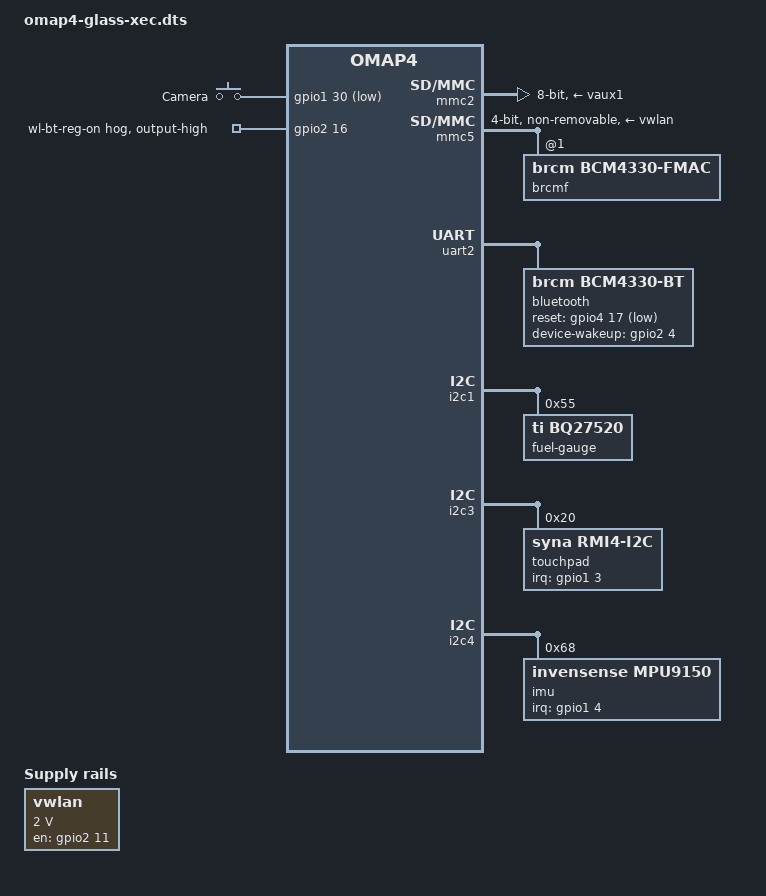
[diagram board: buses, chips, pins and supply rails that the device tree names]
// SPDX-License-Identifier: GPL-2.0-only OR MIT
/*
 * Google Glass XE-C, the full image: the safe image plus the eMMC, Wi-Fi and
 * Bluetooth (BCM4330), the battery gauge, the touchpad, the IMU and the
 * camera button. Sources as in omap4-glass-xec-common.dtsi ("notle:").
 *
 * Not described yet: the display (panel-notle-panel @ I2C4 0x49 behind the
 * iCE40 FPGA, no mainline driver), the glasshub MCU (I2C4 0x35), the
 * LTR-506 light sensor (I2C4 0x3a, no mainline driver), audio (TWL6040 and
 * the ABE), the camera and GPS.
 */
#include "omap4-glass-xec-common.dtsi"
#include <dt-bindings/input/input.h>

/ {
	/*
	 * notle: tuna_vwlan (board-notle-wifi.c), 2.0 V switched by WL_RST_N
	 * (GPIO 43), active high, 70 ms startup; the supply of MMC5.
	 */
	vwlan: regulator-vwlan {
		compatible = "regulator-fixed";
		regulator-name = "vwlan";
		regulator-min-microvolt = <2000000>;
		regulator-max-microvolt = <2000000>;
		gpio = <&gpio2 11 GPIO_ACTIVE_HIGH>;
		enable-active-high;
		startup-delay-us = <70000>;
		regulator-always-on;
		pinctrl-names = "default";
		pinctrl-0 = <&wlan_pins>;
	};

	wlan_pwrseq: wlan-pwrseq {
		compatible = "mmc-pwrseq-simple";
		clocks = <&twl 0>;			/* CLK32KG */
		clock-names = "ext_clock";
	};

	/* notle: notle_button_table, KEY_CAMERA on gpio_wk30, active low. */
	gpio-keys {
		compatible = "gpio-keys";
		pinctrl-names = "default";
		pinctrl-0 = <&camera_button_pins>;

		button-camera {
			label = "Camera";
			gpios = <&gpio1 30 GPIO_ACTIVE_LOW>;
			linux,code = <KEY_CAMERA>;
			debounce-interval = <5>;
			wakeup-source;
		};
	};
};

&omap4_pmx_core {
	pinctrl-0 = <&usb_mux_pins &wl_bt_reg_on_pins>;

	/* notle: mmc[0], MMC2 8-bit, the eMMC. */
	mmc2_pins: mmc2-pins {
		pinctrl-single,pins = <
			OMAP4_IOPAD(0x040, PIN_INPUT_PULLUP | MUX_MODE1)	/* sdmmc2_dat0 */
			OMAP4_IOPAD(0x042, PIN_INPUT_PULLUP | MUX_MODE1)	/* sdmmc2_dat1 */
			OMAP4_IOPAD(0x044, PIN_INPUT_PULLUP | MUX_MODE1)	/* sdmmc2_dat2 */
			OMAP4_IOPAD(0x046, PIN_INPUT_PULLUP | MUX_MODE1)	/* sdmmc2_dat3 */
			OMAP4_IOPAD(0x048, PIN_INPUT_PULLUP | MUX_MODE1)	/* sdmmc2_dat4 */
			OMAP4_IOPAD(0x04a, PIN_INPUT_PULLUP | MUX_MODE1)	/* sdmmc2_dat5 */
			OMAP4_IOPAD(0x04c, PIN_INPUT_PULLUP | MUX_MODE1)	/* sdmmc2_dat6 */
			OMAP4_IOPAD(0x04e, PIN_INPUT_PULLUP | MUX_MODE1)	/* sdmmc2_dat7 */
			OMAP4_IOPAD(0x082, PIN_INPUT_PULLUP | MUX_MODE1)	/* sdmmc2_clk */
			OMAP4_IOPAD(0x084, PIN_INPUT_PULLUP | MUX_MODE1)	/* sdmmc2_cmd */
		>;
	};

	/* notle: mmc[1], "bcm4329" on MMC5, 4-bit SDIO. */
	mmc5_pins: mmc5-pins {
		pinctrl-single,pins = <
			OMAP4_IOPAD(0x148, PIN_INPUT_PULLDOWN | MUX_MODE0)	/* sdmmc5_clk */
			OMAP4_IOPAD(0x14a, PIN_INPUT_PULLUP | MUX_MODE0)	/* sdmmc5_cmd */
			OMAP4_IOPAD(0x14c, PIN_INPUT_PULLUP | MUX_MODE0)	/* sdmmc5_dat0 */
			OMAP4_IOPAD(0x14e, PIN_INPUT_PULLUP | MUX_MODE0)	/* sdmmc5_dat1 */
			OMAP4_IOPAD(0x150, PIN_INPUT_PULLUP | MUX_MODE0)	/* sdmmc5_dat2 */
			OMAP4_IOPAD(0x152, PIN_INPUT_PULLUP | MUX_MODE0)	/* sdmmc5_dat3 */
		>;
	};

	/* notle: notle_uart2_pads, ttyO1 = Bluetooth. */
	uart2_pins: uart2-pins {
		pinctrl-single,pins = <
			OMAP4_IOPAD(0x118, PIN_INPUT_PULLUP | MUX_MODE0)	/* uart2_cts */
			OMAP4_IOPAD(0x11a, PIN_OUTPUT | MUX_MODE0)		/* uart2_rts */
			OMAP4_IOPAD(0x11c, PIN_INPUT_PULLUP | MUX_MODE0)	/* uart2_rx */
			OMAP4_IOPAD(0x11e, PIN_OUTPUT | MUX_MODE0)		/* uart2_tx */
		>;
	};

	/* notle: evt2_board_mux. */
	wlan_pins: wlan-pins {
		pinctrl-single,pins = <
			OMAP4_IOPAD(0x066, PIN_OUTPUT | MUX_MODE3)		/* gpmc_a19.gpio_43: WL_RST_N */
		>;
	};

	wl_bt_reg_on_pins: wl-bt-reg-on-pins {
		pinctrl-single,pins = <
			OMAP4_IOPAD(0x070, PIN_OUTPUT | MUX_MODE3)		/* gpmc_a24.gpio_48: WL_BT_REG_ON */
		>;
	};

	bluetooth_pins: bluetooth-pins {
		pinctrl-single,pins = <
			OMAP4_IOPAD(0x058, PIN_OUTPUT | MUX_MODE3)		/* gpmc_ad12.gpio_36: BCM_BT_WAKE */
			OMAP4_IOPAD(0x0fc, PIN_OUTPUT | MUX_MODE3)		/* abe_mcbsp2_fsx.gpio_113: BT_RST_N */
		>;
	};
};

/* notle: evt2_board_wkup_mux. */
&omap4_pmx_wkup {
	camera_button_pins: camera-button-pins {
		pinctrl-single,pins = <
			OMAP4_IOPAD(0x056, WAKEUP_EN | PIN_INPUT_PULLUP | MUX_MODE3)	/* fref_clk3_req.gpio_wk30: CAMERA */
		>;
	};

	touchpad_pins: touchpad-pins {
		pinctrl-single,pins = <
			OMAP4_IOPAD(0x046, WAKEUP_EN | PIN_INPUT_PULLUP | MUX_MODE3)	/* sim_cd.gpio_wk3: TOUCHPAD_INT_N */
		>;
	};

	imu_pins: imu-pins {
		pinctrl-single,pins = <
			OMAP4_IOPAD(0x048, WAKEUP_EN | PIN_INPUT | MUX_MODE3)	/* sim_pwrctrl.gpio_wk4: MPU9000_INT */
		>;
	};
};

&gpio2 {
	/*
	 * WL_BT_REG_ON powers both halves of the BCM4330 (notle: the Bluetooth
	 * rfkill drives it, and older boards switched Wi-Fi with it too), so it
	 * stays high: Bluetooth is switched by BT_RST_N, Wi-Fi by WL_RST_N.
	 */
	wl-bt-reg-on-hog {
		gpio-hog;
		gpios = <16 GPIO_ACTIVE_HIGH>;			/* GPIO 48 */
		output-high;
		line-name = "wl-bt-reg-on";
	};
};

&mmc2 {
	status = "okay";
	pinctrl-names = "default";
	pinctrl-0 = <&mmc2_pins>;

	vmmc-supply = <&vaux1>;
	ti,non-removable;
	bus-width = <8>;
};

&mmc5 {
	status = "okay";
	#address-cells = <1>;
	#size-cells = <0>;

	non-removable;
	bus-width = <4>;
	vmmc-supply = <&vwlan>;
	mmc-pwrseq = <&wlan_pwrseq>;
	pinctrl-names = "default";
	pinctrl-0 = <&mmc5_pins>;

	/* In-band SDIO interrupt; the host-wake line (GPIO 0) is not used. */
	brcmf: wifi@1 {
		compatible = "brcm,bcm4330-fmac", "brcm,bcm4329-fmac";
		reg = <1>;
	};
};

&uart2 {
	interrupts-extended = <&wakeupgen GIC_SPI 73 IRQ_TYPE_LEVEL_HIGH
			       &omap4_pmx_core OMAP4_UART2_RX>;
	pinctrl-names = "default";
	pinctrl-0 = <&uart2_pins>;

	/*
	 * notle: board-notle-bluetooth.c. No host-wake interrupt, so the chip
	 * stays out of its low-power mode (no LPM vendor commands).
	 */
	bluetooth {
		compatible = "brcm,bcm4330-bt";
		pinctrl-names = "default";
		pinctrl-0 = <&bluetooth_pins>;
		reset-gpios = <&gpio4 17 GPIO_ACTIVE_LOW>;		/* GPIO 113 */
		device-wakeup-gpios = <&gpio2 4 GPIO_ACTIVE_HIGH>;	/* GPIO 36 */
		clocks = <&twl 0>;
		clock-names = "lpo";
	};
};

&i2c1 {
	/* notle: notle_i2c_1_boardinfo, the bq27520 gas gauge. */
	fuel-gauge@55 {
		compatible = "ti,bq27520";
		reg = <0x55>;
	};
};

&i2c3 {
	/* notle: synaptics_platformdata, "tm2240", F11, attention active low. */
	touchpad@20 {
		compatible = "syna,rmi4-i2c";
		reg = <0x20>;
		#address-cells = <1>;
		#size-cells = <0>;
		interrupt-parent = <&gpio1>;
		interrupts = <3 IRQ_TYPE_LEVEL_LOW>;			/* GPIO 3 */
		pinctrl-names = "default";
		pinctrl-0 = <&touchpad_pins>;
		syna,reset-delay-ms = <100>;

		rmi4-f01@1 {
			reg = <0x1>;
			syna,nosleep-mode = <1>;			/* RMI_F01_NOSLEEP_OFF */
		};

		rmi4-f11@11 {
			reg = <0x11>;
			touchscreen-inverted-y;				/* flip_y */
			syna,sensor-type = <2>;				/* touchpad */
		};
	};
};

&i2c4 {
	/* notle: mpu9150_notle_data, int_config 0x10 (active high). */
	imu@68 {
		compatible = "invensense,mpu9150";
		reg = <0x68>;
		interrupt-parent = <&gpio1>;
		interrupts = <4 IRQ_TYPE_EDGE_RISING>;		/* GPIO 4 */
		pinctrl-names = "default";
		pinctrl-0 = <&imu_pins>;
		mount-matrix = "0", "1", "0",
			       "0", "0", "1",
			       "1", "0", "0";
	};
};
